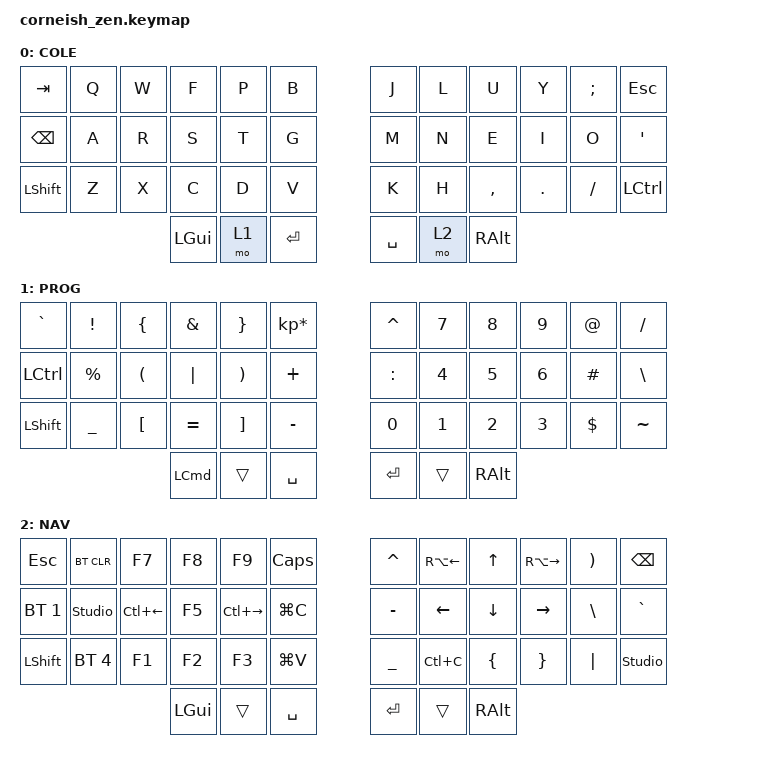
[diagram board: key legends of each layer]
#include <behaviors.dtsi>
#include <dt-bindings/zmk/keys.h>
#include <dt-bindings/zmk/bt.h>

/ {
 chosen {
        zmk,physical-layout = &foostan_corne_6col_layout;
        // zmk,physical-layout = &foostan_corne_5col_layout;
    };
};

/ {
        keymap {
                compatible = "zmk,keymap";

                default_layer {
                        label = "COLE";
// -----------------------------------------------------------------------------------------
// |  TAB |  Q  |  W  |  F  |  P  |  B  |   |  J  |  L   |  U  |  Y  |  ;  | ESC  |
// | BSPC |  A  |  R  |  S  |  T  |  G  |   |  H  |  J   |  E  |  I  |  O  |  '   |
// | SHFT |  Z  |  X  |  C  |  D  |  V  |   |  N  |  M   |  ,  |  .  |  /  | LCTRL |
//                    | GUI | LWR | RET |   | SPACE | RSE  | ALT |
                        bindings = <
   &kp TAB   &kp Q &kp W &kp F &kp P &kp B   &kp J &kp L  &kp U     &kp Y   &kp SEMI &kp ESC
   &kp BSPC  &kp A &kp R &kp S &kp T &kp G   &kp M &kp N  &kp E     &kp I   &kp O    &kp SQT
   &kp LSHFT &kp Z &kp X &kp C &kp D &kp V   &kp K &kp H  &kp COMMA &kp DOT &kp FSLH &kp LCTRL
                  &kp LGUI &mo 1 &kp RET   &kp SPACE &mo 2 &kp RALT
                        >;
                };
                lower_layer {
                        label = "PROG";
// -----------------------------------------------------------------------------------------
// |  `   |  !  |  {  |  &   |  }  |  *  |   |  ^  |  7  |  8  |  9  |  @   |  /  |
// | CTRL |  %  |  (  | "|"  | )   |  +  |   |  :  |  4  |  5  |  6  |  #   |  \  |
// | SHFT |  _  |  [  |  =   |  ]  |  -  |   |  0  |  1  |  2  |  3  |  $   |  ~  |
//                    | CMD  |     | SPC |   | ENT |     | ALT |
                        bindings = <
   &kp GRAVE  &kp EXCL  &kp LBRC &kp AMPS  &kp RBRC &kp KP_MULTIPLY     &kp CARET   &kp N7  &kp N8  &kp N9  &kp AT      &kp FSLH
   &kp LCTRL  &kp PRCNT &kp LPAR &kp PIPE  &kp RPAR &kp PLUS            &kp COLON   &kp N4  &kp N5  &kp N6  &kp HASH    &kp BSLH
   &kp LSHFT  &kp UNDER &kp LBKT &kp EQUAL &kp RBKT &kp MINUS           &kp N0      &kp N1  &kp N2  &kp N3  &kp DLLR    &kp TILDE
                        &kp LCMD     &trans       &kp SPACE      &kp RET  &trans   &kp RALT
                        >;
                };

                raise_layer {
                        label = "NAV";
// -----------------------------------------------------------------------------------------
// |  ESC   | BTCLR |  F7      |  F8   |  F9       | CAPS  |         |  ^  |  RA(LEFT)  |  UP    |  RA(RIGHT)  |  )  | BSPC |
// |  BT1   | STUDIO| LC(LEFT) |  F5   | LC(RIGHT) | LG(C] |         |  -  |  LEFT      |  DOWN  |  RIGHT      |  \  |  `   |
// |  SHFT  |  BT4  |  F1      |  F2   |  F3       | LG(V) |         |  _  |  LC(C)     |  {     |  }          | "|" |STUDIO|
//                                     | GUI |     | SPC   |         | ENT |     | ALT |
                        bindings = <
   &kp ESC      &bt BT_CLR     &kp F7       &kp F8 &kp F9        &kp CAPS            &kp CARET &kp RA(LEFT)  &kp UP    &kp RA(RIGHT) &kp RPAR &kp BSPC
   &bt BT_SEL 1 &studio_unlock &kp LC(LEFT) &kp F5 &kp LC(RIGHT) &kp LG(C)           &kp MINUS &kp LEFT      &kp DOWN  &kp RIGHT     &kp BSLH &kp GRAVE
   &kp LSHFT    &bt BT_SEL 4   &kp F1       &kp F2 &kp F3        &kp LG(V)           &kp UNDER &kp LC(C)     &kp LBRC  &kp RBRC      &kp PIPE &studio_unlock
                    	     &kp LGUI &trans   &kp SPACE        &kp RET   &trans    &kp RALT
                        >;
                };
        };
};
